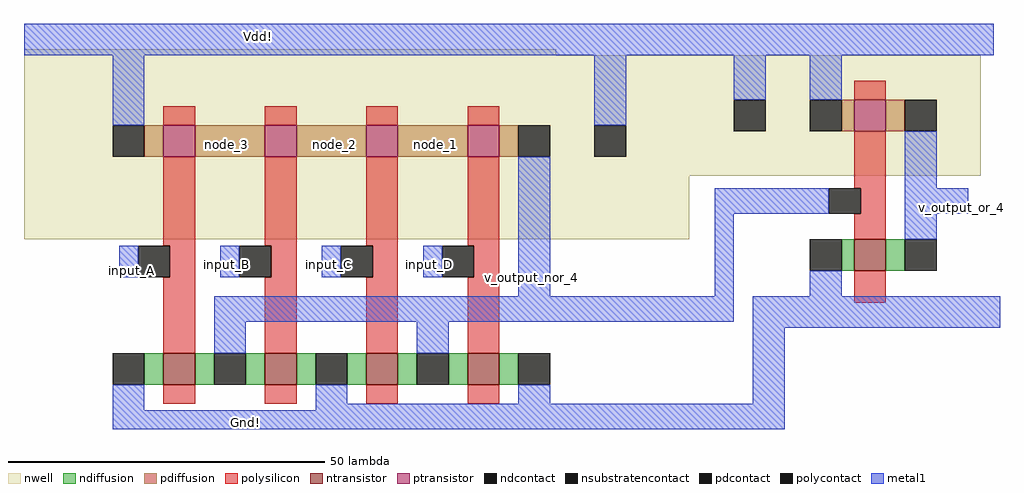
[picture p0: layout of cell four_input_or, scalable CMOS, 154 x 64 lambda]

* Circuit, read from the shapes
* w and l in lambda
.subckt four_input_or Gnd! Vdd! input_A input_B input_C input_D node_1 node_2 node_3 v_output_nor_4 v_output_or_4
M1 v_output_nor_4 input_A Gnd! VSUBS nfet w=5 l=5
M2 Gnd! input_B v_output_nor_4 VSUBS nfet w=5 l=5
M3 v_output_nor_4 input_C Gnd! VSUBS nfet w=5 l=5
M4 Gnd! input_D v_output_nor_4 VSUBS nfet w=5 l=5
M5 v_output_or_4 v_output_nor_4 Gnd! VSUBS nfet w=5 l=5
M6 node_3 input_A Vdd! Vdd! pfet w=5 l=5
M7 node_2 input_B node_3 Vdd! pfet w=5 l=5
M8 node_1 input_C node_2 Vdd! pfet w=5 l=5
M9 v_output_nor_4 input_D node_1 Vdd! pfet w=5 l=5
M10 v_output_or_4 v_output_nor_4 Vdd! Vdd! pfet w=5 l=5
.ends

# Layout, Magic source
magic
tech scmos
<< nwell >>
rect -50 30 34 31
rect -50 1 55 30
<< ntransistor >>
rect -28 -22 -23 -17
rect -12 -22 -7 -17
rect 4 -22 9 -17
rect 20 -22 25 -17
<< ptransistor >>
rect -28 14 -23 19
rect -12 14 -7 19
rect 4 14 9 19
rect 20 14 25 19
<< ndiffusion >>
rect -31 -22 -28 -17
rect -23 -22 -20 -17
rect -15 -22 -12 -17
rect -7 -22 -4 -17
rect 1 -22 4 -17
rect 9 -22 12 -17
rect 17 -22 20 -17
rect 25 -22 28 -17
<< pdiffusion >>
rect -31 14 -28 19
rect -23 14 -12 19
rect -7 14 4 19
rect 9 14 20 19
rect 25 14 28 19
<< ndcontact >>
rect -36 -22 -31 -17
rect -20 -22 -15 -17
rect -4 -22 1 -17
rect 12 -22 17 -17
rect 28 -22 33 -17
<< pdcontact >>
rect -36 14 -31 19
rect 28 14 33 19
<< nsubstratencontact >>
rect 40 14 45 19
<< polysilicon >>
rect -28 19 -23 22
rect -12 19 -7 22
rect 4 19 9 22
rect 20 19 25 22
rect -28 0 -23 14
rect -12 0 -7 14
rect 4 0 9 14
rect 20 0 25 14
rect -27 -5 -23 0
rect -11 -5 -7 0
rect 5 -5 9 0
rect 21 -5 25 0
rect -28 -17 -23 -5
rect -12 -17 -7 -5
rect 4 -17 9 -5
rect 20 -17 25 -5
rect -28 -25 -23 -22
rect -12 -25 -7 -22
rect 4 -25 9 -22
rect 20 -25 25 -22
<< polycontact >>
rect -32 -5 -27 0
rect -16 -5 -11 0
rect 0 -5 5 0
rect 16 -5 21 0
<< metal1 >>
rect -50 30 55 35
rect -36 19 -31 30
rect 40 19 45 30
rect -35 -5 -32 0
rect -19 -5 -16 0
rect -3 -5 0 0
rect 13 -5 16 0
rect 28 -8 33 14
rect 59 5 73 9
rect 97 5 99 9
rect 59 -8 62 5
rect -20 -12 62 -8
rect -20 -17 -15 -12
rect 12 -17 17 -12
rect -36 -26 -31 -22
rect -4 -25 1 -22
rect 28 -25 33 -22
rect 65 -25 70 -8
rect -4 -26 70 -25
rect -36 -29 70 -26
use not_without_labels  not_without_labels_0
transform 1 0 71 0 1 -1
box -16 -12 33 36
<< labels >>
rlabel metal1 -13 33 -13 33 5 Vdd!
rlabel metal1 -33 -4 -33 -4 1 input_A
rlabel metal1 -18 -3 -18 -3 1 input_B
rlabel metal1 -2 -3 -2 -3 1 input_C
rlabel metal1 -15 -28 -15 -28 1 Gnd!
rlabel metal1 14 -3 14 -3 1 input_D
rlabel metal1 30 -5 30 -5 1 v_output_nor_4
rlabel pdiffusion 15 16 15 16 1 node_1
rlabel pdiffusion -1 16 -1 16 1 node_2
rlabel pdiffusion -18 16 -18 16 1 node_3
rlabel metal1 98 6 98 6 1 v_output_or_4
<< end >>

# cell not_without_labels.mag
magic
tech scmos
<< nwell >>
rect -16 12 30 31
<< ntransistor >>
rect 10 -3 15 2
<< ptransistor >>
rect 10 19 15 24
<< ndiffusion >>
rect 8 -3 10 2
rect 15 -3 18 2
<< pdiffusion >>
rect 8 19 10 24
rect 15 19 18 24
<< ndcontact >>
rect 3 -3 8 2
rect 18 -3 23 2
<< pdcontact >>
rect 3 19 8 24
rect 18 19 23 24
<< nsubstratencontact >>
rect -9 19 -4 24
<< polysilicon >>
rect 10 24 15 27
rect 10 10 15 19
rect 11 6 15 10
rect 10 2 15 6
rect 10 -8 15 -3
<< polycontact >>
rect 6 6 11 10
<< metal1 >>
rect -16 31 32 36
rect -9 24 -4 31
rect 3 24 8 31
rect 18 10 23 19
rect 2 6 6 10
rect 18 6 26 10
rect 18 2 23 6
rect 3 -7 8 -3
rect -6 -12 33 -7
<< end >>
